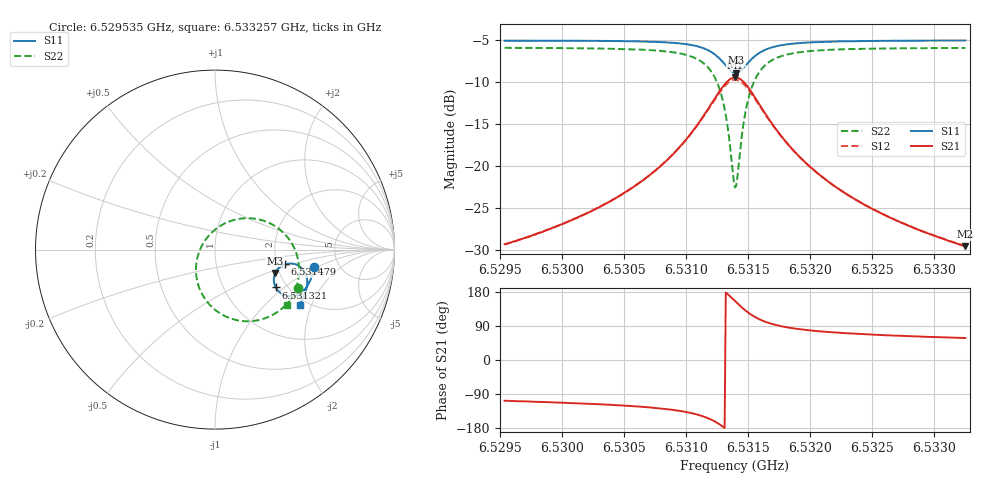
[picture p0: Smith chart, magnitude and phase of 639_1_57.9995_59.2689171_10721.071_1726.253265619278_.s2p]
#  HZ  S  RI  R  50.00
! Rohde & Schwarz Vector Network Analyzer
! Rohde-Schwarz,ZNB20-2Port,1311601062101988,3.16
! Created: UTC 3/21/2024, 1:18:57 AM
! freq[Hz]  re:S11  im:S11  re:S21  im:S21  re:S12  im:S12  re:S22  im:S22
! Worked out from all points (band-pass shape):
!   401 points, 6.529535 GHz to 6.533257 GHz, reference 50 ohm
!   highest |S21| = -9.41 dB at 6.531396 GHz (marker M1); lowest = -29.5 dB at 6.533257 GHz (marker M2)
!   |S21| within 3 dB of the highest: 6.531211 GHz to 6.531583 GHz (371.9 kHz wide, 0.00569 % of centre)
!   lowest |S11| = -8.9 dB at 6.531405 GHz (marker M3), VSWR 2.13, Z = 95 - j28.5 ohm
!   |S11| at or under -10 dB: nowhere
!   |S22| runs from -22.5 to -5.9 dB; largest |S21 - S12| = 0.014
!   S11 on the Smith chart (normalised r, x): 6.529535 GHz: 3.27, -0.92; 6.531321 GHz: 1.74, -0.87; 6.531479 GHz: 2.21, -0.43; 6.533257 GHz: 1.83, -1.64
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6.5295345e9  0.5522 -0.0965  -0.0104 -0.0327  -0.0111 -0.0324  0.4605 -0.214
6.530158e9  0.5389 -0.1492  -0.0213 -0.0462  -0.0224 -0.0456  0.4245 -0.2727
6.5304837e9  0.5267 -0.1804  -0.0341 -0.0591  -0.0357 -0.058  0.3908 -0.3116
6.5307815e9  0.5067 -0.2139  -0.0598 -0.078  -0.0621 -0.0764  0.333 -0.3569
6.5310048e9  0.4748 -0.2437  -0.1072 -0.0983  -0.1103 -0.0942  0.238 -0.394
6.531163e9  0.4244 -0.2596  -0.1855 -0.1001  -0.1876 -0.0919  0.0962 -0.3865
6.5312561e9  0.3744 -0.2475  -0.2626 -0.0623  -0.2599 -0.0511  -0.0292 -0.3079
6.5312933e9  0.3524 -0.2302  -0.2945 -0.0263  -0.2885 -0.0149  -0.0754 -0.2414
6.5313212e9  0.3385 -0.2108  -0.3133 0.011  -0.3045 0.0216  -0.0992 -0.1756
6.5313771e9  0.3284 -0.1581  -0.3196 0.1063  -0.3065 0.1116  -0.0906 -0.0186
6.5313957e9  0.3326 -0.1392  -0.3088 0.1388  -0.2956 0.1418  -0.0673 0.0326
6.531405e9  0.336 -0.1303  -0.3011 0.1544  -0.2879 0.156  -0.0518 0.0563
6.5314236e9  0.3458 -0.1138  -0.2814 0.1825  -0.269 0.1819  -0.0147 0.0981
6.5314422e9  0.3586 -0.1  -0.2572 0.2055  -0.2461 0.2031  0.0287 0.1314
6.5314794e9  0.3885 -0.0822  -0.2028 0.2344  -0.1947 0.23  0.1229 0.1693
6.5315446e9  0.4385 -0.0792  -0.116 0.2391  -0.1119 0.2348  0.2684 0.1616
6.5316376e9  0.4826 -0.1027  -0.0406 0.2032  -0.0389 0.2011  0.3895 0.0854
6.5317772e9  0.5081 -0.1421  0.00362 0.1488  0.00484 0.1479  0.4543 -0.0231
6.5320192e9  0.514 -0.1893  0.0208 0.0945  0.0222 0.0942  0.4681 -0.1338
6.532317e9  0.5071 -0.2272  0.0228 0.0629  0.0236 0.0626  0.4548 -0.2051
6.5326427e9  0.496 -0.2585  0.0209 0.0451  0.0219 0.0447  0.4358 -0.2525
6.5332569e9  0.4713 -0.3059  0.0177 0.0283  0.0184 0.0279  0.4008 -0.3103
